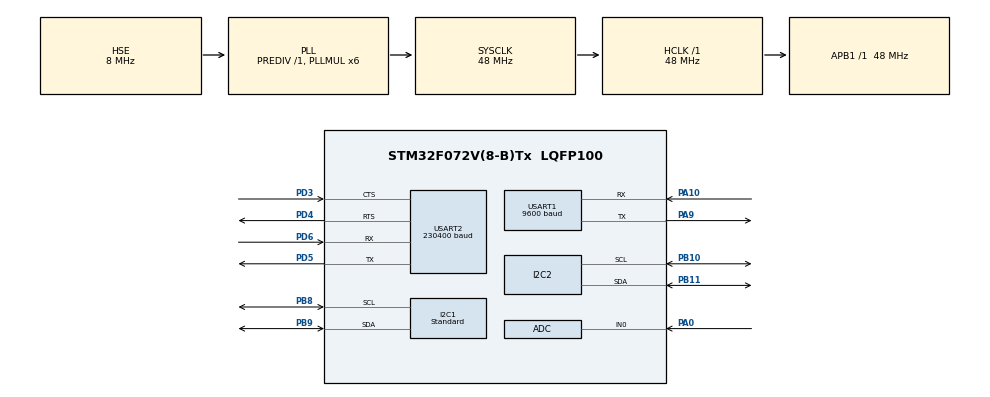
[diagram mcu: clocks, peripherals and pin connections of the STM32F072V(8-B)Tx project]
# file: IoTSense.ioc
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ADC.ClockPrescaler=ADC_CLOCK_SYNC_PCLK_DIV4
ADC.ContinuousConvMode=DISABLE
ADC.DMAContinuousRequests=DISABLE
ADC.DataAlign=ADC_DATAALIGN_RIGHT
ADC.DiscontinuousConvMode=DISABLE
ADC.EOCSelection=ADC_EOC_SINGLE_CONV
ADC.EnableAnalogWatchDog=false
ADC.ExternalTrigConv=ADC_SOFTWARE_START
ADC.ExternalTrigConvEdge=ADC_EXTERNALTRIGCONVEDGE_NONE
ADC.LowPowerAutoPowerOff=DISABLE
ADC.LowPowerAutoWait=DISABLE
ADC.Overrun=ADC_OVR_DATA_PRESERVED
ADC.Resolution=ADC_RESOLUTION_10B
ADC.SamplingTime=ADC_SAMPLETIME_28CYCLES_5
ADC.ScanConvMode=ADC_SCAN_DIRECTION_FORWARD
I2C1.I2C_Speed_Mode=I2C_Standard
I2C1.Timing=0x20303E5D
I2C2.Timing=0x20303E5D
Mcu.Family=STM32F0
Mcu.Name=STM32F072V(8-B)Tx
Mcu.Package=LQFP100
NVIC.I2C1_IRQn=true\:0\:0\:false\:false\:true\:true
NVIC.I2C2_IRQn=true\:0\:0\:false\:false\:true\:true
NVIC.USART1_IRQn=true\:3\:0\:true\:false\:true\:true
NVIC.USART2_IRQn=true\:3\:0\:true\:false\:true\:true
PA0.Mode=IN0
PA0.Signal=ADC_IN0
PA10.Mode=Asynchronous
PA10.Signal=USART1_RX
PA9.Mode=Asynchronous
PA9.Signal=USART1_TX
PB10.Mode=I2C
PB10.Signal=I2C2_SCL
PB11.Mode=I2C
PB11.Signal=I2C2_SDA
PB8.Mode=I2C
PB8.Signal=I2C1_SCL
PB9.Mode=I2C
PB9.Signal=I2C1_SDA
PC14-OSC32_IN.Mode=LSE-External-Oscillator
PC14-OSC32_IN.Signal=RCC_OSC32_IN
PC15-OSC32_OUT.Mode=LSE-External-Oscillator
PC15-OSC32_OUT.Signal=RCC_OSC32_OUT
PD3.Mode=CTS_RTS
PD3.Signal=USART2_CTS
PD4.Mode=CTS_RTS
PD4.Signal=USART2_RTS
PD5.Mode=Asynchronous
PD5.Signal=USART2_TX
PD6.Mode=Asynchronous
PD6.Signal=USART2_RX
PF0-OSC_IN.Mode=HSE-External-Oscillator
PF0-OSC_IN.Signal=RCC_OSC_IN
PF1-OSC_OUT.Mode=HSE-External-Oscillator
PF1-OSC_OUT.Signal=RCC_OSC_OUT
ProjectManager.HeapSize=0x200
ProjectManager.StackSize=0x400
ProjectManager.TargetToolchain=TrueSTUDIO
RCC.AHBFreq_Value=48000000
RCC.APB1Freq_Value=48000000
RCC.APB1TimFreq_Value=48000000
RCC.HCLKFreq_Value=48000000
RCC.I2c1ClockSelection=RCC_I2C1CLKSOURCE_SYSCLK
RCC.PLLMUL=RCC_PLL_MUL6
RCC.PLLSourceVirtual=RCC_PLLSOURCE_HSE
RCC.RTCClockSelection=RCC_RTCCLKSOURCE_LSE
RCC.SYSCLKFreq_VALUE=48000000
RCC.SYSCLKSource=RCC_SYSCLKSOURCE_PLLCLK
RTC.Format=RTC_FORMAT_BIN
USART1.BaudRate=9600
USART1.Parity=PARITY_NONE
USART1.VirtualMode-Asynchronous=VM_ASYNC
USART1.WordLength=WORDLENGTH_8B
USART2.BaudRate=230400
USART2.Parity=PARITY_EVEN
USART2.VirtualMode-Asynchronous=VM_ASYNC
USART2.WordLength=WORDLENGTH_9B
VP_RTC_VS_RTC_Activate.Mode=RTC_Enabled
VP_RTC_VS_RTC_Calendar.Mode=RTC_Calendar
board=IoTSense

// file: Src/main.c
/**
  ******************************************************************************
  * File Name          : main.c
  * Description        : Main program body
  ******************************************************************************
  ** This notice applies to any and all portions of this file
  * that are not between comment pairs USER CODE BEGIN and
  * USER CODE END. Other portions of this file, whether
  * inserted by the user or by software development tools
  * are owned by their respective copyright owners.
  *
  * COPYRIGHT(c) 2018 STMicroelectronics
  *
  * Redistribution and use in source and binary forms, with or without modification,
  * are permitted provided that the following conditions are met:
  *   1. Redistributions of source code must retain the above copyright notice,
  *      this list of conditions and the following disclaimer.
  *   2. Redistributions in binary form must reproduce the above copyright notice,
  *      this list of conditions and the following disclaimer in the documentation
  *      and/or other materials provided with the distribution.
  *   3. Neither the name of STMicroelectronics nor the names of its contributors
  *      may be used to endorse or promote products derived from this software
  *      without specific prior written permission.
  *
  * THIS SOFTWARE IS PROVIDED BY THE COPYRIGHT HOLDERS AND CONTRIBUTORS "AS IS"
  * AND ANY EXPRESS OR IMPLIED WARRANTIES, INCLUDING, BUT NOT LIMITED TO, THE
  * IMPLIED WARRANTIES OF MERCHANTABILITY AND FITNESS FOR A PARTICULAR PURPOSE ARE
  * DISCLAIMED. IN NO EVENT SHALL THE COPYRIGHT HOLDER OR CONTRIBUTORS BE LIABLE
  * FOR ANY DIRECT, INDIRECT, INCIDENTAL, SPECIAL, EXEMPLARY, OR CONSEQUENTIAL
  * DAMAGES (INCLUDING, BUT NOT LIMITED TO, PROCUREMENT OF SUBSTITUTE GOODS OR
  * SERVICES; LOSS OF USE, DATA, OR PROFITS; OR BUSINESS INTERRUPTION) HOWEVER
  * CAUSED AND ON ANY THEORY OF LIABILITY, WHETHER IN CONTRACT, STRICT LIABILITY,
  * OR TORT (INCLUDING NEGLIGENCE OR OTHERWISE) ARISING IN ANY WAY OUT OF THE USE
  * OF THIS SOFTWARE, EVEN IF ADVISED OF THE POSSIBILITY OF SUCH DAMAGE.
  *
  ******************************************************************************
  */

#include "main.h"
#include "stm32f0xx_hal.h"

/* USER CODE BEGIN Includes */
#include <string.h>
#include "th02.h"
#include "si1145.h"
#include "hp206c.h"
#include "uart.h"
#include "json.h"
#include "time.h"
#include "mh-z16.h"
#include "mp503.h"
/* USER CODE END Includes */

ADC_HandleTypeDef hadc;

I2C_HandleTypeDef hi2c1;
I2C_HandleTypeDef hi2c2;

RTC_HandleTypeDef hrtc;

UART_HandleTypeDef huart1;
UART_HandleTypeDef huart2;

/* USER CODE BEGIN PV */
/* Private variables ---------------------------------------------------------*/

/* USER CODE END PV */

void SystemClock_Config(void);
static void MX_GPIO_Init(void);
static void MX_I2C1_Init(void);
static void MX_USART1_UART_Init(void);
static void MX_USART2_UART_Init(void);
static void MX_I2C2_Init(void);
static void MX_RTC_Init(void);
static void MX_ADC_Init(void);

/* USER CODE BEGIN PFP */
/* Private function prototypes -----------------------------------------------*/

/* USER CODE END PFP */

int main(void)
{

  /* MCU Configuration----------------------------------------------------------*/

  /* Reset of all peripherals, Initializes the Flash interface and the Systick. */
  HAL_Init();

  /* Configure the system clock */
  SystemClock_Config();

  /* Initialize all configured peripherals */
  MX_GPIO_Init();
  MX_I2C1_Init();
  MX_USART1_UART_Init();
  MX_USART2_UART_Init();
  MX_I2C2_Init();
  MX_RTC_Init();
  MX_ADC_Init();

  /* USER CODE BEGIN 2 */
    uint8_t json_buffer[300];

    json_obj hp206c_temperature;
    json_obj hp206c_pressure;
    json_obj hp206c_altitude;
    json_obj si1145_vis;
    json_obj si1145_ir;
    json_obj th02_humidity;
    json_obj th02_temperature;
    json_obj mhz16_co2;
    json_obj mp503;

    create_json_object(&hp206c_temperature, 1, 1,
            "hp206c", "Temperatur", "\u00B0C", "Wohnzimmer");

    create_json_object(&hp206c_pressure, 1, 2,
            "hp206c", "Druck", "mbar", "Wohnzimmer");

    create_json_object(&hp206c_altitude, 1, 3,
            "hp206c", "H\u00F6he", "m", "Wohnzimmer");

    create_json_object(&si1145_vis, 2, 1,
            "si1145", "Licht", "lx", "Wohnzimmer");

    create_json_object(&si1145_ir, 2, 2,
            "si1145", "Infrarot", "lx", "Wohnzimmer");

    create_json_object(&th02_humidity, 3, 1,
            "th02", "Feuchtigkeit", "%RH", "Wohnzimmer");

    create_json_object(&th02_temperature, 3, 2,
            "th02", "Temperatur", "\u00B0C", "Wohnzimmer");

    create_json_object(&mhz16_co2, 4, 1,
            "mh-z16", "CO2", "ppm", "Wohnzimmer");

    create_json_object(&mp503, 5, 1,
            "mp503", "Verschmutzung", "V", "Wohnzimmer");

    hp206c_init();
    si1145_init(INDOOR_BULB);
    uart_receive_enable();
    //uart_send((uint8_t *)"IoTSense v 1.0\n");

    time_sync();

  /* USER CODE END 2 */

  /* Infinite loop */
    while (1)
    {

  /* USER CODE BEGIN 3 */
        hp206c_temperature.value = hp206c_getTemperature();
        get_time(hp206c_temperature.timestamp);
        create_json_string(hp206c_temperature, json_buffer);
        uart_send(json_buffer);

        hp206c_pressure.value = hp206c_getPressure();
        get_time(hp206c_pressure.timestamp);
        create_json_string(hp206c_pressure, json_buffer);
        uart_send(json_buffer);

        hp206c_altitude.value = hp206c_getAltitude();
        get_time(hp206c_altitude.timestamp);
        create_json_string(hp206c_altitude, json_buffer);
        uart_send(json_buffer);

        si1145_vis.value = si1145_getVisible();
        get_time(si1145_vis.timestamp);
        create_json_string(si1145_vis, json_buffer);
        uart_send(json_buffer);

        si1145_ir.value = si1145_getIR();
        get_time(si1145_ir.timestamp);
        create_json_string(si1145_ir, json_buffer);
        uart_send(json_buffer);

        th02_humidity.value = th02_get_humidity();
        get_time(th02_humidity.timestamp);
        create_json_string(th02_humidity, json_buffer);
        uart_send(json_buffer);

        th02_temperature.value = th02_get_temperature();
        get_time(th02_temperature.timestamp);
        create_json_string(th02_temperature, json_buffer);
        uart_send(json_buffer);

        mhz16_co2.value = mhz16_get_value();
        get_time(mhz16_co2.timestamp);
        create_json_string(mhz16_co2, json_buffer);
        uart_send(json_buffer);

        mp503.value = mp503_get_value();
        get_time(mp503.timestamp);
        create_json_string(mp503, json_buffer);
        uart_send(json_buffer);
    }
  /* USER CODE END 3 */

}

/** System Clock Configuration
*/
void SystemClock_Config(void)
{

  RCC_OscInitTypeDef RCC_OscInitStruct;
  RCC_ClkInitTypeDef RCC_ClkInitStruct;
  RCC_PeriphCLKInitTypeDef PeriphClkInit;

    /**Configure LSE Drive Capability
    */
  __HAL_RCC_LSEDRIVE_CONFIG(RCC_LSEDRIVE_HIGH);

    /**Initializes the CPU, AHB and APB busses clocks
    */
  RCC_OscInitStruct.OscillatorType = RCC_OSCILLATORTYPE_HSE|RCC_OSCILLATORTYPE_LSE;
  RCC_OscInitStruct.HSEState = RCC_HSE_ON;
  RCC_OscInitStruct.LSEState = RCC_LSE_ON;
  RCC_OscInitStruct.PLL.PLLState = RCC_PLL_ON;
  RCC_OscInitStruct.PLL.PLLSource = RCC_PLLSOURCE_HSE;
  RCC_OscInitStruct.PLL.PLLMUL = RCC_PLL_MUL6;
  RCC_OscInitStruct.PLL.PREDIV = RCC_PREDIV_DIV1;
  if (HAL_RCC_OscConfig(&RCC_OscInitStruct) != HAL_OK)
  {
    _Error_Handler(__FILE__, __LINE__);
  }

    /**Initializes the CPU, AHB and APB busses clocks
    */
  RCC_ClkInitStruct.ClockType = RCC_CLOCKTYPE_HCLK|RCC_CLOCKTYPE_SYSCLK
                              |RCC_CLOCKTYPE_PCLK1;
  RCC_ClkInitStruct.SYSCLKSource = RCC_SYSCLKSOURCE_PLLCLK;
  RCC_ClkInitStruct.AHBCLKDivider = RCC_SYSCLK_DIV1;
  RCC_ClkInitStruct.APB1CLKDivider = RCC_HCLK_DIV1;

  if (HAL_RCC_ClockConfig(&RCC_ClkInitStruct, FLASH_LATENCY_1) != HAL_OK)
  {
    _Error_Handler(__FILE__, __LINE__);
  }

  PeriphClkInit.PeriphClockSelection = RCC_PERIPHCLK_USART1|RCC_PERIPHCLK_USART2
                              |RCC_PERIPHCLK_I2C1|RCC_PERIPHCLK_RTC;
  PeriphClkInit.Usart1ClockSelection = RCC_USART1CLKSOURCE_PCLK1;
  PeriphClkInit.Usart2ClockSelection = RCC_USART2CLKSOURCE_PCLK1;
  PeriphClkInit.I2c1ClockSelection = RCC_I2C1CLKSOURCE_SYSCLK;
  PeriphClkInit.RTCClockSelection = RCC_RTCCLKSOURCE_LSE;
  if (HAL_RCCEx_PeriphCLKConfig(&PeriphClkInit) != HAL_OK)
  {
    _Error_Handler(__FILE__, __LINE__);
  }

    /**Configure the Systick interrupt time
    */
  HAL_SYSTICK_Config(HAL_RCC_GetHCLKFreq()/1000);

    /**Configure the Systick
    */
  HAL_SYSTICK_CLKSourceConfig(SYSTICK_CLKSOURCE_HCLK);

  /* SysTick_IRQn interrupt configuration */
  HAL_NVIC_SetPriority(SysTick_IRQn, 0, 0);
}

/* ADC init function */
static void MX_ADC_Init(void)
{

  ADC_ChannelConfTypeDef sConfig;

    /**Configure the global features of the ADC (Clock, Resolution, Data Alignment and number of conversion)
    */
  hadc.Instance = ADC1;
  hadc.Init.ClockPrescaler = ADC_CLOCK_SYNC_PCLK_DIV4;
  hadc.Init.Resolution = ADC_RESOLUTION_10B;
  hadc.Init.DataAlign = ADC_DATAALIGN_RIGHT;
  hadc.Init.ScanConvMode = ADC_SCAN_DIRECTION_FORWARD;
  hadc.Init.EOCSelection = ADC_EOC_SINGLE_CONV;
  hadc.Init.LowPowerAutoWait = DISABLE;
  hadc.Init.LowPowerAutoPowerOff = DISABLE;
  hadc.Init.ContinuousConvMode = DISABLE;
  hadc.Init.DiscontinuousConvMode = DISABLE;
  hadc.Init.ExternalTrigConv = ADC_SOFTWARE_START;
  hadc.Init.ExternalTrigConvEdge = ADC_EXTERNALTRIGCONVEDGE_NONE;
  hadc.Init.DMAContinuousRequests = DISABLE;
  hadc.Init.Overrun = ADC_OVR_DATA_PRESERVED;
  if (HAL_ADC_Init(&hadc) != HAL_OK)
  {
    _Error_Handler(__FILE__, __LINE__);
  }

    /**Configure for the selected ADC regular channel to be converted.
    */
  sConfig.Channel = ADC_CHANNEL_0;
  sConfig.Rank = ADC_RANK_CHANNEL_NUMBER;
  sConfig.SamplingTime = ADC_SAMPLETIME_28CYCLES_5;
  if (HAL_ADC_ConfigChannel(&hadc, &sConfig) != HAL_OK)
  {
    _Error_Handler(__FILE__, __LINE__);
  }

}

/* I2C1 init function */
static void MX_I2C1_Init(void)
{

  hi2c1.Instance = I2C1;
  hi2c1.Init.Timing = 0x20303E5D;
  hi2c1.Init.OwnAddress1 = 0;
  hi2c1.Init.AddressingMode = I2C_ADDRESSINGMODE_7BIT;
  hi2c1.Init.DualAddressMode = I2C_DUALADDRESS_DISABLE;
  hi2c1.Init.OwnAddress2 = 0;
  hi2c1.Init.OwnAddress2Masks = I2C_OA2_NOMASK;
  hi2c1.Init.GeneralCallMode = I2C_GENERALCALL_DISABLE;
  hi2c1.Init.NoStretchMode = I2C_NOSTRETCH_DISABLE;
  if (HAL_I2C_Init(&hi2c1) != HAL_OK)
  {
    _Error_Handler(__FILE__, __LINE__);
  }

    /**Configure Analogue filter
    */
  if (HAL_I2CEx_ConfigAnalogFilter(&hi2c1, I2C_ANALOGFILTER_ENABLE) != HAL_OK)
  {
    _Error_Handler(__FILE__, __LINE__);
  }

    /**Configure Digital filter
    */
  if (HAL_I2CEx_ConfigDigitalFilter(&hi2c1, 0) != HAL_OK)
  {
    _Error_Handler(__FILE__, __LINE__);
  }

}

/* I2C2 init function */
static void MX_I2C2_Init(void)
{

  hi2c2.Instance = I2C2;
  hi2c2.Init.Timing = 0x20303E5D;
  hi2c2.Init.OwnAddress1 = 0;
  hi2c2.Init.AddressingMode = I2C_ADDRESSINGMODE_7BIT;
  hi2c2.Init.DualAddressMode = I2C_DUALADDRESS_DISABLE;
  hi2c2.Init.OwnAddress2 = 0;
  hi2c2.Init.OwnAddress2Masks = I2C_OA2_NOMASK;
  hi2c2.Init.GeneralCallMode = I2C_GENERALCALL_DISABLE;
  hi2c2.Init.NoStretchMode = I2C_NOSTRETCH_DISABLE;
  if (HAL_I2C_Init(&hi2c2) != HAL_OK)
  {
    _Error_Handler(__FILE__, __LINE__);
  }

    /**Configure Analogue filter
    */
  if (HAL_I2CEx_ConfigAnalogFilter(&hi2c2, I2C_ANALOGFILTER_ENABLE) != HAL_OK)
  {
    _Error_Handler(__FILE__, __LINE__);
  }

    /**Configure Digital filter
    */
  if (HAL_I2CEx_ConfigDigitalFilter(&hi2c2, 0) != HAL_OK)
  {
    _Error_Handler(__FILE__, __LINE__);
  }

}

/* RTC init function */
static void MX_RTC_Init(void)
{

  RTC_TimeTypeDef sTime;
  RTC_DateTypeDef sDate;

    /**Initialize RTC Only
    */
  hrtc.Instance = RTC;
  hrtc.Init.HourFormat = RTC_HOURFORMAT_24;
  hrtc.Init.AsynchPrediv = 127;
  hrtc.Init.SynchPrediv = 255;
  hrtc.Init.OutPut = RTC_OUTPUT_DISABLE;
  hrtc.Init.OutPutPolarity = RTC_OUTPUT_POLARITY_HIGH;
  hrtc.Init.OutPutType = RTC_OUTPUT_TYPE_OPENDRAIN;
  if (HAL_RTC_Init(&hrtc) != HAL_OK)
  {
    _Error_Handler(__FILE__, __LINE__);
  }

    /**Initialize RTC and set the Time and Date
    */
  sTime.Hours = 0;
  sTime.Minutes = 0;
  sTime.Seconds = 0;
  sTime.DayLightSaving = RTC_DAYLIGHTSAVING_NONE;
  sTime.StoreOperation = RTC_STOREOPERATION_RESET;
  if (HAL_RTC_SetTime(&hrtc, &sTime, RTC_FORMAT_BIN) != HAL_OK)
  {
    _Error_Handler(__FILE__, __LINE__);
  }

  sDate.WeekDay = RTC_WEEKDAY_MONDAY;
  sDate.Month = RTC_MONTH_JANUARY;
  sDate.Date = 1;
  sDate.Year = 0;

  if (HAL_RTC_SetDate(&hrtc, &sDate, RTC_FORMAT_BIN) != HAL_OK)
  {
    _Error_Handler(__FILE__, __LINE__);
  }

  if(HAL_RTCEx_BKUPRead(&hrtc, RTC_BKP_DR0) != 0x32F2){
    HAL_RTCEx_BKUPWrite(&hrtc,RTC_BKP_DR0,0x32F2);
  }

}

/* USART1 init function */
static void MX_USART1_UART_Init(void)
{

  huart1.Instance = USART1;
  huart1.Init.BaudRate = 9600;
  huart1.Init.WordLength = UART_WORDLENGTH_8B;
  huart1.Init.StopBits = UART_STOPBITS_1;
  huart1.Init.Parity = UART_PARITY_NONE;
  huart1.Init.Mode = UART_MODE_TX_RX;
  huart1.Init.HwFlowCtl = UART_HWCONTROL_NONE;
  huart1.Init.OverSampling = UART_OVERSAMPLING_16;
  huart1.Init.OneBitSampling = UART_ONE_BIT_SAMPLE_DISABLE;
  huart1.AdvancedInit.AdvFeatureInit = UART_ADVFEATURE_NO_INIT;
  if (HAL_UART_Init(&huart1) != HAL_OK)
  {
    _Error_Handler(__FILE__, __LINE__);
  }

}

/* USART2 init function */
static void MX_USART2_UART_Init(void)
{

  huart2.Instance = USART2;
  huart2.Init.BaudRate = 230400;
  huart2.Init.WordLength = UART_WORDLENGTH_9B;
  huart2.Init.StopBits = UART_STOPBITS_1;
  huart2.Init.Parity = UART_PARITY_EVEN;
  huart2.Init.Mode = UART_MODE_TX_RX;
  huart2.Init.HwFlowCtl = UART_HWCONTROL_RTS_CTS;
  huart2.Init.OverSampling = UART_OVERSAMPLING_16;
  huart2.Init.OneBitSampling = UART_ONE_BIT_SAMPLE_DISABLE;
  huart2.AdvancedInit.AdvFeatureInit = UART_ADVFEATURE_NO_INIT;
  if (HAL_UART_Init(&huart2) != HAL_OK)
  {
    _Error_Handler(__FILE__, __LINE__);
  }

}

/** Configure pins as
        * Analog
        * Input
        * Output
        * EVENT_OUT
        * EXTI
*/
static void MX_GPIO_Init(void)
{

  /* GPIO Ports Clock Enable */
  __HAL_RCC_GPIOC_CLK_ENABLE();
  __HAL_RCC_GPIOF_CLK_ENABLE();
  __HAL_RCC_GPIOA_CLK_ENABLE();
  __HAL_RCC_GPIOB_CLK_ENABLE();
  __HAL_RCC_GPIOD_CLK_ENABLE();

}

void _Error_Handler(char * file, int line)
{
    while (1)
    {
    }
}

/************************ (C) COPYRIGHT STMicroelectronics *****END OF FILE****/
